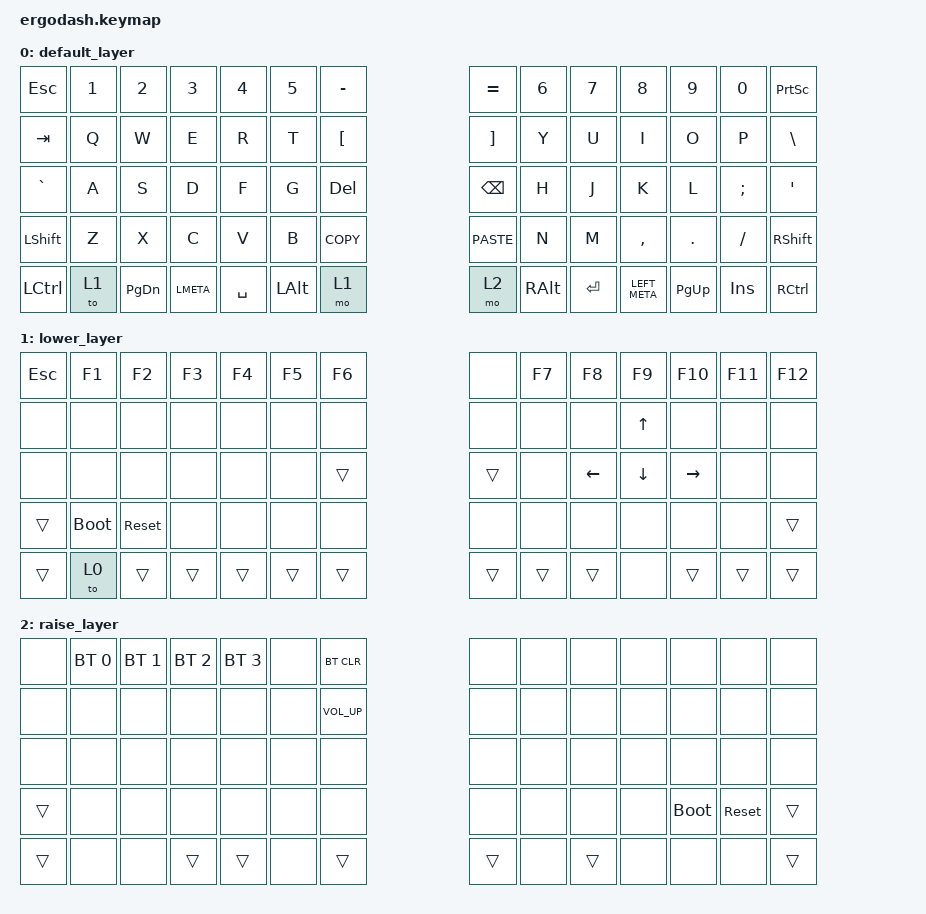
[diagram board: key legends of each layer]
/*
 * Copyright (c) 2020 The ZMK Contributors
 *
 * SPDX-License-Identifier: MIT
 */

#include <behaviors.dtsi>
#include <dt-bindings/zmk/bt.h>
#include <dt-bindings/zmk/keys.h>

#define DEFAULT 0
#define LOWER   1
#define RAISE   2

/ {
    keymap {
        compatible = "zmk,keymap";

        default_layer {
            /* QWERTY
 * .----------------------------------------------------------------------------------------------------------------------.
 * |  `   |   1  |   2  |   3  |   4  |   5  |  [   |                    |  ]   |   6  |   7  |   8  |   9  |   0  | PScr |
 * |------+------+------+------+------+------+------+--------------------+------+------+------+------+------+------+------|
 * | ESC  |   Q  |   W  |   E  |   R  |   T  |  -   |                    |  =   |   Y  |   U  |   I  |   O  |   P  |  \   |
 * |------+------+------+------+------+------+------+--------------------+------+------+------+------+------+------+------|
 * | Tab  |   A  |   S  |   D  |   F  |   G  | Del  |                    | Bksp |   H  |   J  |   K  |   L  |   ;  |  '   |
 * |------+------+------+------+------+------+---------------------------+------+------+------+------+------+------+------|
 * | Shift|   Z  |   X  |   C  |   V  |   B  | End  |                    | Home |   N  |   M  |   ,  |   .  |   /  | Shift|
 * |-------------+------+------+------+------+------+------+------+------+------+------+------+------+------+-------------|
 * | Ctrl |      | PGDN | Win  |||||||| Space| Alt  | Lower|||||||| Raise| RAlt | Enter ||||||||      | PGUP | Ins  | RCtrl|
 * .----------------------------------------------------------------------------------------------------------------------.
 */

            bindings = <
&kp ESC    &kp N1  &kp N2     &kp N3     &kp N4     &kp N5  &kp MINUS                                  &kp EQUAL          &kp N6  &kp N7   &kp N8         &kp N9     &kp N0     &kp PSCRN
&kp TAB    &kp Q   &kp W      &kp E      &kp R      &kp T   &kp LEFT_BRACKET                           &kp RIGHT_BRACKET  &kp Y   &kp U    &kp I          &kp O      &kp P      &kp BSLH
&kp GRAVE  &kp A   &kp S      &kp D      &kp F      &kp G   &kp DEL                                    &kp BSPC           &kp H   &kp J    &kp K          &kp L      &kp SEMI   &kp SQT
&kp LSHFT  &kp Z   &kp X      &kp C      &kp V      &kp B                     &kp K_COPY  &kp K_PASTE                     &kp N   &kp M    &kp COMMA      &kp DOT    &kp SLASH  &kp RSHFT
&kp LCTRL  &to 1   &kp PG_DN  &kp LMETA  &kp SPACE          &kp LEFT_ALT      &mo 1       &mo 2        &kp RALT                   &kp RET  &kp LEFT_META  &kp PG_UP  &kp INS    &kp RCTRL
            >;
        };

        lower_layer {
            /* .----------------------------------------------------------------------------------------------------------------------.
 * |  F11 |  F1  |  F2  |  F3  |  F4  |  F5  |      |                    |      |  F6  |  F7  |  F8  |  F9  |  F10 |  F12 |
 * |------+------+------+------+------+------+------+--------------------+------+------+------+------+------+------+------|
 * |      |      |      |      |      |      |      |                    |      |      |      |  ⬆   |      |      |      |
 * |------+------+------+------+------+------+------+--------------------+------+------+------+------+------+------+------|
 * |      |      |      |      |      |      |      |                    |      |      |  ⬅  |   ⬇  |   ⮕  |      |      |
 * |------+------+------+------+------+------+---------------------------+------+------+------+------+------+------+------|
 * | Shift| Boot | Reset|      |      |      |      |                    |      |      |      |      |      |      | Shift|
 * |-------------+------+------+------+------+------+------+------+------+------+------+------+------+------+-------------|
 * | Ctlr |      |      |  Win |||||||| Alt  |      | Lower|||||||| Raise|      | RAlt ||||||||      |      |      | RCtrl|
 * .----------------------------------------------------------------------------------------------------------------------.
 */ /* FIXME boot and reset are not yet locale aware */
            bindings = <
&kp ESCAPE  &kp F1       &kp F2      &kp F3  &kp F4  &kp F5  &kp F6                  &none   &kp F7  &kp F8    &kp F9    &kp F10    &kp F11  &kp F12
&none       &none        &none       &none   &none   &none   &none                   &none   &none   &none     &kp UP    &none      &none    &none
&none       &none        &none       &none   &none   &none   &trans                  &trans  &none   &kp LEFT  &kp DOWN  &kp RIGHT  &none    &none
&trans      &bootloader  &sys_reset  &none   &none   &none           &none   &none           &none   &none     &none     &none      &none    &trans
&trans      &to 0        &trans      &trans  &trans          &trans  &trans  &trans  &trans          &trans    &none     &trans     &trans   &trans
            >;
        };

        raise_layer {
            /* .----------------------------------------------------------------------------------------------------------------------.
 * |      | BT 0 | BT 1 | BT 2 | BT 3 |      | BTCL |                    |      |      |      |      |      |      |      |
 * |------+------+------+------+------+------+------+--------------------+------+------+------+------+------+------+------|
 * |      |      |      |      |      |      |      |                    |      |      |      |      |      |      |      |
 * |------+------+------+------+------+------+------+--------------------+------+------+------+------+------+------+------|
 * |      |      |      |      |      |      |      |                    |      |      |      |      |      |      |      |
 * |------+------+------+------+------+------+---------------------------+------+------+------+------+------+------+------|
 * | Shift|      |      |      |      |      |      |                    |      |      |      |      | Boot | Reset| Shift|
 * |-------------+------+------+------+------+------+------+------+------+------+------+------+------+------+-------------|
 * | Ctlr |      |      |  Win |||||||| Alt  |      | Lower|||||||| Raise|      | RAlt ||||||||      |      |      | RCtrl|
 * .----------------------------------------------------------------------------------------------------------------------.
 */ /* FIXME boot and reset are not yet locale aware */
            bindings = <
&none   &bt BT_SEL 0  &bt BT_SEL 1  &bt BT_SEL 2  &bt BT_SEL 3  &none  &bt BT_CLR                       &none  &none  &none   &none  &none        &none       &none
&none   &none         &none         &none         &none         &none  &kp K_VOLUME_UP                  &none  &none  &none   &none  &none        &none       &none
&none   &none         &none         &none         &none         &none  &none                            &none  &none  &none   &none  &none        &none       &none
&trans  &none         &none         &none         &none         &none                   &none   &none          &none  &none   &none  &bootloader  &sys_reset  &trans
&trans  &none         &none         &trans        &trans               &none            &trans  &trans  &none         &trans  &none  &none        &none       &trans
            >;
        };
    };
};
